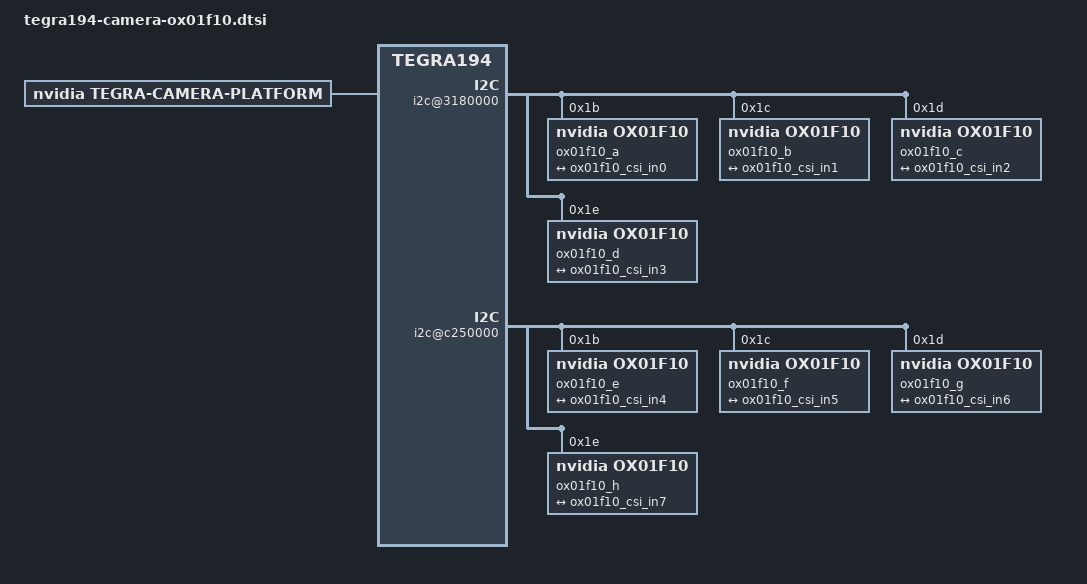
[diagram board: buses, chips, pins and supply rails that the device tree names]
/*
 * Copyright (c) 2018, NVIDIA CORPORATION.  All rights reserved.
 *
 * This program is free software; you can redistribute it and/or modify
 * it under the terms of the GNU General Public License as published by
 * the Free Software Foundation; either version 2 of the License, or
 * (at your option) any later version.
 *
 * This program is distributed in the hope that it will be useful, but WITHOUT
 * ANY WARRANTY; without even the implied warranty of MERCHANTABILITY or
 * FITNESS FOR A PARTICULAR PURPOSE.  See the GNU General Public License for
 * more details.
 *
 * You should have received a copy of the GNU General Public License
 * along with this program.  If not, see <http://www.gnu.org/licenses/>.
 */



/ {
		tegra-capture-vi {
			num-channels = <8>;
			ports {
				#address-cells = <1>;
				#size-cells = <0>;
            #if 1
				port@0 {
					reg = <0>;
					ox01f10_vi_in0: endpoint {
						vc-id = <0>;
						port-index = <0>;
						bus-width = <4>;
						remote-endpoint = <&ox01f10_csi_out0>;
					};
				};
				port@1 {
					reg = <1>;
					ox01f10_vi_in1: endpoint {
						vc-id = <1>;
						port-index = <0>;
						bus-width = <4>;
						remote-endpoint = <&ox01f10_csi_out1>;
					};
				};
				port@2 {
					reg = <2>;
					ox01f10_vi_in2: endpoint {
						vc-id = <0>;
						port-index = <2>;
						bus-width = <4>;
						remote-endpoint = <&ox01f10_csi_out2>;
					};
				};
				port@3 {
					reg = <3>;
					ox01f10_vi_in3: endpoint {
						vc-id = <1>;
						port-index = <2>;
						bus-width = <4>;
						remote-endpoint = <&ox01f10_csi_out3>;
					};
				};
            #endif
            #if 1
				port@4 {
					reg = <4>;
					ox01f10_vi_in4: endpoint {
						vc-id = <0>;
						port-index = <5>;
						bus-width = <4>;
						remote-endpoint = <&ox01f10_csi_out4>;
					};
				};
				port@5 {
					reg = <5>;
					ox01f10_vi_in5: endpoint {
						vc-id = <1>;
						port-index = <5>;
						bus-width = <4>;
						remote-endpoint = <&ox01f10_csi_out5>;
					};
				};	
				port@6 {
					reg = <6>;
					ox01f10_vi_in6: endpoint {
						vc-id = <0>;
						port-index = <4>;
						bus-width = <4>;
						remote-endpoint = <&ox01f10_csi_out6>;
					};
				};
				port@7 {
					reg = <7>;
					ox01f10_vi_in7: endpoint {
						vc-id = <1>;
						port-index = <4>;
						bus-width = <4>;
						remote-endpoint = <&ox01f10_csi_out7>;
					};
				};
            #endif
			};
		};

	host1x@13e00000 {
		nvcsi@15a00000 {
			num-channels = <8>;
			#address-cells = <1>;
			#size-cells = <0>;
        #if 1
			channel@0 {
				reg = <0>;
				ports {
					#address-cells = <1>;
					#size-cells = <0>;
					port@0 {
						reg = <0>;
						ox01f10_csi_in0: endpoint@0 {
							port-index = <0>;
							bus-width = <4>;
							remote-endpoint = <&ox01f10_ox01f10_out0>;
						};
					};

					port@1 {
						reg = <1>;
						ox01f10_csi_out0: endpoint@1 {
							remote-endpoint = <&ox01f10_vi_in0>;
						};
					};

				};
			};
			channel@1 {
				reg = <1>;
				ports {
					#address-cells = <1>;
					#size-cells = <0>;
					port@0 {
						reg = <0>;
						ox01f10_csi_in1: endpoint@2 {
							port-index = <0>;
							bus-width = <4>;
							remote-endpoint = <&ox01f10_ox01f10_out1>;
						};
					};
					port@1 {
						reg = <1>;
						ox01f10_csi_out1: endpoint@3 {
							remote-endpoint = <&ox01f10_vi_in1>;
						};
					};
				};
			};
			channel@2 {
				reg = <2>;
				ports {
					#address-cells = <1>;
					#size-cells = <0>;
					port@0 {
						reg = <0>;
						ox01f10_csi_in2: endpoint@4 {
							port-index = <2>;
							bus-width = <4>;
							remote-endpoint = <&ox01f10_ox01f10_out2>;
						};
					};
					port@1 {
						reg = <1>;
						ox01f10_csi_out2: endpoint@5 {
							remote-endpoint = <&ox01f10_vi_in2>;
						};
					};
				};
			};
			channel@3 {
				reg = <3>;
				ports {
					#address-cells = <1>;
					#size-cells = <0>;
					port@0 {
						reg = <0>;
						ox01f10_csi_in3: endpoint@6 {
							port-index = <2>;
							bus-width = <4>;
							remote-endpoint = <&ox01f10_ox01f10_out3>;
						};
					};
					port@1 {
						reg = <1>;
						ox01f10_csi_out3: endpoint@7 {
							remote-endpoint = <&ox01f10_vi_in3>;
						};
					};
				};
			};
        #endif
        #if 1
			channel@4 {
				reg = <4>;
				ports {
					#address-cells = <1>;
					#size-cells = <0>;
					port@0 {
						reg = <0>;
						ox01f10_csi_in4: endpoint@8 {
							port-index = <6>;
							bus-width = <4>;
							remote-endpoint = <&ox01f10_ox01f10_out4>;
						};
					};

					port@1 {
						reg = <1>;
						ox01f10_csi_out4: endpoint@9 {
							remote-endpoint = <&ox01f10_vi_in4>;
						};
					};

				};
			};
			channel@5 {
				reg = <5>;
				ports {
					#address-cells = <1>;
					#size-cells = <0>;
					port@0 {
						reg = <0>;
						ox01f10_csi_in5: endpoint@10 {
							port-index = <6>;
							bus-width = <4>;
							remote-endpoint = <&ox01f10_ox01f10_out5>;
						};
					};
					port@1 {
						reg = <1>;
						ox01f10_csi_out5: endpoint@11 {
							remote-endpoint = <&ox01f10_vi_in5>;
						};
					};
				};
			};
			channel@6 {
				reg = <6>;
				ports {
					#address-cells = <1>;
					#size-cells = <0>;
					port@0 {
						reg = <0>;
						ox01f10_csi_in6: endpoint@12 {
							port-index = <4>;
							bus-width = <4>;
							remote-endpoint = <&ox01f10_ox01f10_out6>;
						};
					};
					port@1 {
						reg = <1>;
						ox01f10_csi_out6: endpoint@13 {
							remote-endpoint = <&ox01f10_vi_in6>;
						};
					};
				};
			};
			channel@7 {
				reg = <7>;
				ports {
					#address-cells = <1>;
					#size-cells = <0>;
					port@0 {
						reg = <0>;
						ox01f10_csi_in7: endpoint@14 {
							port-index = <4>;
							bus-width = <4>;
							remote-endpoint = <&ox01f10_ox01f10_out7>;
						};
					};
					port@1 {
						reg = <1>;
						ox01f10_csi_out7: endpoint@15 {
							remote-endpoint = <&ox01f10_vi_in7>;
						};
					};
				};
			};
        #endif
		};

	};

	i2c@3180000 {

			ox01f10_a@1b {
				compatible = "nvidia,ox01f10";
				reg = <0x1b>;
				physical_w = "15.0";
				physical_h = "12.5";
				sensor_model ="ox01f10";
				post_crop_frame_drop = "0";
				use_decibel_gain = "true";
				delayed_gain = "true";
				//use_sensor_mode_id = "true";
				mode0 {
					mclk_khz = "27000";
					num_lanes = "4";
					tegra_sinterface = "serial_a";
					vc_id = "0";
					discontinuous_clk = "no";
					dpcm_enable = "false";
					cil_settletime = "0";
					mode_type = "yuv";
					pixel_phase = "yuyv";
					csi_pixel_bit_depth = "16";
					active_w = "1280";
					active_h = "720";
					//pixel_t = "yuv_yuyv16";
					readout_orientation = "0";
					line_length = "4400";
					inherent_gain = "1";
					pix_clk_hz = "148500000";
					serdes_pix_clk_hz = "150000000";
					min_framerate = "30";
					max_framerate = "30";
				};
				ports {
					#address-cells = <1>;
					#size-cells = <0>;
					port@0 {
						reg = <0>;
						ox01f10_ox01f10_out0: endpoint {
							vc-id = <0>;
							port-index = <0>;
							bus-width = <4>;
							remote-endpoint = <&ox01f10_csi_in0>;
							};
						};
					};
				gmsl-link {
					src-csi-port = "b";
					dst-csi-port = "b";
					serdes-csi-link = "a";
					csi-mode = "1x4";
					st-vc = <0>;
					vc-id = <0>;
					num-lanes = <4>;
					streams = "yuv422-8";
					};
				};
			ox01f10_b@1c {
				compatible = "nvidia,ox01f10";
				reg = <0x1c>;
				physical_w = "15.0";
				physical_h = "12.5";
				sensor_model ="ox01f10";
				post_crop_frame_drop = "0";
				use_decibel_gain = "true";
				delayed_gain = "true";
				//use_sensor_mode_id = "true";
				mode0 {
					mclk_khz = "27000";
					num_lanes = "4";
					tegra_sinterface = "serial_a";
					vc_id = "1";
					discontinuous_clk = "no";
					dpcm_enable = "false";
					cil_settletime = "0";
					mode_type = "yuv";
					pixel_phase = "yuyv";
					csi_pixel_bit_depth = "16";
					active_w = "1280";
					active_h = "720";
					//pixel_t = "yuv_yuyv16";
					readout_orientation = "0";
					line_length = "4400";
					inherent_gain = "1";
					pix_clk_hz = "148500000";
					serdes_pix_clk_hz = "150000000";
					min_framerate = "30";
					max_framerate = "30";
				};
				ports {
					#address-cells = <1>;
					#size-cells = <0>;
					port@0 {
						reg = <0>;
						ox01f10_ox01f10_out1: endpoint {
							vc-id = <1>;
							port-index = <0>;
							bus-width = <4>;
							remote-endpoint = <&ox01f10_csi_in1>;
							};
						};
					};
				gmsl-link {
					src-csi-port = "b";
					dst-csi-port = "b";
					serdes-csi-link = "b";
					csi-mode = "1x4";
					st-vc = <0>;
					vc-id = <1>;
					num-lanes = <4>;
					streams = "yuv422-8";
					};
				};

			ox01f10_c@1d {
				compatible = "nvidia,ox01f10";
				reg = <0x1d>;
				physical_w = "15.0";
				physical_h = "12.5";
				sensor_model ="ox01f10";
				post_crop_frame_drop = "0";
				use_decibel_gain = "true";
				delayed_gain = "true";
				//use_sensor_mode_id = "true";
				mode0 {
					mclk_khz = "27000";
					num_lanes = "4";
					tegra_sinterface = "serial_c";
					vc_id = "0";
					discontinuous_clk = "no";
					dpcm_enable = "false";
					cil_settletime = "0";
					mode_type = "yuv";
					pixel_phase = "yuyv";
					csi_pixel_bit_depth = "16";
					active_w = "1280";
					active_h = "720";
					//pixel_t = "yuv_yuyv16";
					readout_orientation = "0";
					line_length = "4400";
					inherent_gain = "1";
					pix_clk_hz = "148500000";
					serdes_pix_clk_hz = "150000000";
					min_framerate = "30";
					max_framerate = "30";
				};
				ports {
					#address-cells = <1>;
					#size-cells = <0>;
					port@0 {
						reg = <0>;
						ox01f10_ox01f10_out2: endpoint {
							vc-id = <0>;
							port-index = <2>;
							bus-width = <4>;
							remote-endpoint = <&ox01f10_csi_in2>;
							};
						};
					};
				gmsl-link {
					src-csi-port = "b";
					dst-csi-port = "b";
					serdes-csi-link = "a";
					csi-mode = "1x4";
					st-vc = <0>;
					vc-id = <0>;
					num-lanes = <4>;
					streams = "yuv422-8";
					};
				};

			ox01f10_d@1e{
				compatible = "nvidia,ox01f10";
				reg = <0x1e>;
				physical_w = "15.0";
				physical_h = "12.5";
				sensor_model ="ox01f10";
				post_crop_frame_drop = "0";
				use_decibel_gain = "true";
				delayed_gain = "true";
				//use_sensor_mode_id = "true";
				mode0 {
					mclk_khz = "27000";
					num_lanes = "4";
					tegra_sinterface = "serial_c";
					vc_id = "1";
					discontinuous_clk = "no";
					dpcm_enable = "false";
					cil_settletime = "0";
					mode_type = "yuv";
					pixel_phase = "yuyv";
					csi_pixel_bit_depth = "16";
					active_w = "1280";
					active_h = "720";
					//pixel_t = "yuv_yuyv16";
					readout_orientation = "0";
					line_length = "4400";
					inherent_gain = "1";
					pix_clk_hz = "148500000";
					serdes_pix_clk_hz = "150000000";
					min_framerate = "30";
					max_framerate = "30";
				};
				ports {
					#address-cells = <1>;
					#size-cells = <0>;
					port@0 {
						reg = <0>;
						ox01f10_ox01f10_out3: endpoint {
							vc-id = <1>;
							port-index = <2>;
							bus-width = <4>;
							remote-endpoint = <&ox01f10_csi_in3>;
							};
						};
					};
				gmsl-link {
					src-csi-port = "b";
					dst-csi-port = "b";
					serdes-csi-link = "b";
					csi-mode = "1x4";
					st-vc = <0>;
					vc-id = <1>;
					num-lanes = <4>;
					streams = "yuv422-8";
					};
				};
	};
    #if 1
	i2c@c250000 {
			ox01f10_e@1b {
				compatible = "nvidia,ox01f10";
				reg = <0x1b>;
				physical_w = "15.0";
				physical_h = "12.5";
				sensor_model ="ox01f10";
				post_crop_frame_drop = "0";
				use_decibel_gain = "true";
				delayed_gain = "true";
				//use_sensor_mode_id = "true";
				mode0 {
					mclk_khz = "27000";
					num_lanes = "4";
					tegra_sinterface = "serial_g";
					vc_id = "0";
					discontinuous_clk = "no";
					dpcm_enable = "false";
					cil_settletime = "0";
					mode_type = "yuv";
					pixel_phase = "yuyv";
					csi_pixel_bit_depth = "16";
					active_w = "1280";
					active_h = "720";
					//pixel_t = "yuv_yuyv16";
					readout_orientation = "0";
					line_length = "4400";
					inherent_gain = "1";
					pix_clk_hz = "148500000";
					serdes_pix_clk_hz = "150000000";
					min_framerate = "30";
					max_framerate = "30";
				};
				ports {
					#address-cells = <1>;
					#size-cells = <0>;
					port@0 {
						reg = <0>;
						ox01f10_ox01f10_out4: endpoint {
							vc-id = <0>;
							port-index = <6>;
							bus-width = <4>;
							remote-endpoint = <&ox01f10_csi_in4>;
							};
						};
					};
				gmsl-link {
					src-csi-port = "b";
					dst-csi-port = "b";
					serdes-csi-link = "a";
					csi-mode = "1x4";
					st-vc = <0>;
					vc-id = <0>;
					num-lanes = <4>;
					streams = "yuv422-8";
					};
				};
			ox01f10_f@1c {
				compatible = "nvidia,ox01f10";
				reg = <0x1c>;
				physical_w = "15.0";
				physical_h = "12.5";
				sensor_model ="ox01f10";
				post_crop_frame_drop = "0";
				use_decibel_gain = "true";
				delayed_gain = "true";
				//use_sensor_mode_id = "true";
				mode0 {
					mclk_khz = "27000";
					num_lanes = "4";
					tegra_sinterface = "serial_g";
					vc_id = "1";
					discontinuous_clk = "no";
					dpcm_enable = "false";
					cil_settletime = "0";
					mode_type = "yuv";
					pixel_phase = "yuyv";
					csi_pixel_bit_depth = "16";
					active_w = "1280";
					active_h = "720";
					//pixel_t = "yuv_yuyv16";
					readout_orientation = "0";
					line_length = "4400";
					inherent_gain = "1";
					pix_clk_hz = "148500000";
					serdes_pix_clk_hz = "150000000";
					min_framerate = "30";
					max_framerate = "30";
				};
				ports {
					#address-cells = <1>;
					#size-cells = <0>;
					port@0 {
						reg = <0>;
						ox01f10_ox01f10_out5: endpoint {
							vc-id = <1>;
							port-index = <6>;
							bus-width = <4>;
							remote-endpoint = <&ox01f10_csi_in5>;
							};
						};
					};
				gmsl-link {
					src-csi-port = "b";
					dst-csi-port = "b";
					serdes-csi-link = "b";
					csi-mode = "1x4";
					st-vc = <0>;
					vc-id = <1>;
					num-lanes = <4>;
					streams = "yuv422-8";
					};
				};

			ox01f10_g@1d {
				compatible = "nvidia,ox01f10";
				reg = <0x1d>;
				physical_w = "15.0";
				physical_h = "12.5";
				sensor_model ="ox01f10";
				post_crop_frame_drop = "0";
				use_decibel_gain = "true";
				delayed_gain = "true";
				//use_sensor_mode_id = "true";
				mode0 {
					mclk_khz = "27000";
					num_lanes = "4";
					tegra_sinterface = "serial_e";
					vc_id = "0";
					discontinuous_clk = "no";
					dpcm_enable = "false";
					cil_settletime = "0";
					mode_type = "yuv";
					pixel_phase = "yuyv";
					csi_pixel_bit_depth = "16";
					active_w = "1280";
					active_h = "720";
					//pixel_t = "yuv_yuyv16";
					readout_orientation = "0";
					line_length = "4400";
					inherent_gain = "1";
					pix_clk_hz = "148500000";
					serdes_pix_clk_hz = "150000000";
					min_framerate = "30";
					max_framerate = "30";
				};
				ports {
					#address-cells = <1>;
					#size-cells = <0>;
					port@0 {
						reg = <0>;
						ox01f10_ox01f10_out6: endpoint {
							vc-id = <0>;
							port-index = <4>;
							bus-width = <4>;
							remote-endpoint = <&ox01f10_csi_in6>;
							};
						};
					};
				gmsl-link {
					src-csi-port = "b";
					dst-csi-port = "b";
					serdes-csi-link = "a";
					csi-mode = "1x4";
					st-vc = <0>;
					vc-id = <0>;
					num-lanes = <4>;
					streams = "yuv422-8";
					};
				};

			ox01f10_h@1e{
				compatible = "nvidia,ox01f10";
				reg = <0x1e>;
				physical_w = "15.0";
				physical_h = "12.5";
				sensor_model ="ox01f10";
				post_crop_frame_drop = "0";
				use_decibel_gain = "true";
				delayed_gain = "true";
				//use_sensor_mode_id = "true";
				mode0 {
					mclk_khz = "27000";
					num_lanes = "4";
					tegra_sinterface = "serial_e";
					vc_id = "1";
					discontinuous_clk = "no";
					dpcm_enable = "false";
					cil_settletime = "0";
					mode_type = "yuv";
					pixel_phase = "yuyv";
					csi_pixel_bit_depth = "16";
					active_w = "1280";
					active_h = "720";
					//pixel_t = "yuv_yuyv16";
					readout_orientation = "0";
					line_length = "4400";
					inherent_gain = "1";
					pix_clk_hz = "148500000";
					serdes_pix_clk_hz = "150000000";
					min_framerate = "30";
					max_framerate = "30";
				};
				ports {
					#address-cells = <1>;
					#size-cells = <0>;
					port@0 {
						reg = <0>;
						ox01f10_ox01f10_out7: endpoint {
							vc-id = <1>;
							port-index = <4>;
							bus-width = <4>;
							remote-endpoint = <&ox01f10_csi_in7>;
							};
						};
					};
				gmsl-link {
					src-csi-port = "b";
					dst-csi-port = "b";
					serdes-csi-link = "b";
					csi-mode = "1x4";
					st-vc = <0>;
					vc-id = <1>;
					num-lanes = <4>;
					streams = "yuv422-8";
					};
				};

	};
    #endif

};

/ {

	tegra-camera-platform {
		compatible = "nvidia, tegra-camera-platform";
		/**
		* Physical settings to calculate max ISO BW
		*
		* num_csi_lanes = <>;
		* Total number of CSI lanes when all cameras are active
		*
		* max_lane_speed = <>;
		* Max lane speed in Kbit/s
		*
		* min_bits_per_pixel = <>;
		* Min bits per pixel
		*
		* vi_peak_byte_per_pixel = <>;
		* Max byte per pixel for the VI ISO case
		*
		* vi_bw_margin_pct = <>;
		* Vi bandwidth margin in percentage
		*
		* max_pixel_rate = <>;
		* Max pixel rate in Kpixel/s for the ISP ISO case
		*
		* isp_peak_byte_per_pixel = <>;
		* Max byte per pixel for the ISP ISO case
		*
		* isp_bw_margin_pct = <>;
		* Isp bandwidth margin in percentage
		*/
		num_csi_lanes = <8>;
		max_lane_speed = <4000000>;
		min_bits_per_pixel = <10>;
		vi_peak_byte_per_pixel = <2>;
		vi_bw_margin_pct = <25>;
		isp_peak_byte_per_pixel = <5>;
		isp_bw_margin_pct = <25>;

		/**
		 * The general guideline for naming badge_info contains 3 parts, and is as follows,
		 * The first part is the camera_board_id for the module; if the module is in a FFD
		 * platform, then use the platform name for this part.
		 * The second part contains the position of the module, ex. "rear" or "front".
		 * The third part contains the last 6 characters of a part number which is found
		 * in the module's specsheet from the vender.
		 */
		modules {

			module0 {
				badge = "ox01f10_bottomleft";
				position = "camera_0";
				orientation = "0";
				drivernode0 {
					pcl_id = "v4l2_sensor";
					devname = "ox01f10 2-001b";
					proc-device-tree = "/proc/device-tree/i2c@3180000/ox01f10_a@1b";
				};
			};
			module1 {
				badge = "ox01f10_bottomright";
				position = "camera_1";
				orientation = "0";
				drivernode0 {
					pcl_id = "v4l2_sensor";
					devname = "ox01f10 2-001c";
					proc-device-tree = "/proc/device-tree/i2c@3180000/ox01f10_b@1c";
				};
			};
			module2 {
				badge = "ox01f10_bottomleft";
				position = "camera_2";
				orientation = "0";
				drivernode0 {
					pcl_id = "v4l2_sensor";
					devname = "ox01f10 2-001d";
					proc-device-tree = "/proc/device-tree/i2c@3180000/ox01f10_c@1d";
				};
			};
			module3 {
				badge = "ox01f10_bottomleft";
				position = "camera_3";
				orientation = "0";
				drivernode0 {
					pcl_id = "v4l2_sensor";
					devname = "ox01f10 2-001e";
					proc-device-tree = "/proc/device-tree/i2c@3180000/ox01f10_d@1e";
				};
			};
           #if 1
			module4 {
				badge = "ox01f10_topleft";
				position = "camera_4";
				orientation = "0";
				drivernode0 {
					pcl_id = "v4l2_sensor";
					devname = "ox01f10 7-001b";
					proc-device-tree = "/proc/device-tree/i2c@c250000/ox01f10_e@1b";
				};
			};
			module5 {
				badge = "ox01f10_topright";
				position = "camera_5";
				orientation = "0";
				drivernode0 {
					pcl_id = "v4l2_sensor";
					devname = "ox01f10 7-001c";
					proc-device-tree = "/proc/device-tree/i2c@c250000/ox01f10_f@1c";
				};
			};
			module6 {
				badge = "ox01f10_centerleft";
				position = "camera_6";
				orientation = "0";
				drivernode0 {
					pcl_id = "v4l2_sensor";
					devname = "ox01f10 7-001d";
					proc-device-tree = "/proc/device-tree/i2c@c250000/ox01f10_g@1d";
				};
			};
			module7 {
				badge = "ox01f10_centerrigth";
				position = "camera_7";
				orientation = "0";
				drivernode0 {
					pcl_id = "v4l2_sensor";
					devname = "ox01f10 7-001e";
					proc-device-tree = "/proc/device-tree/i2c@c250000/ox01f10_h@1e";
				};
			};
            #endif
		};
	};
};
